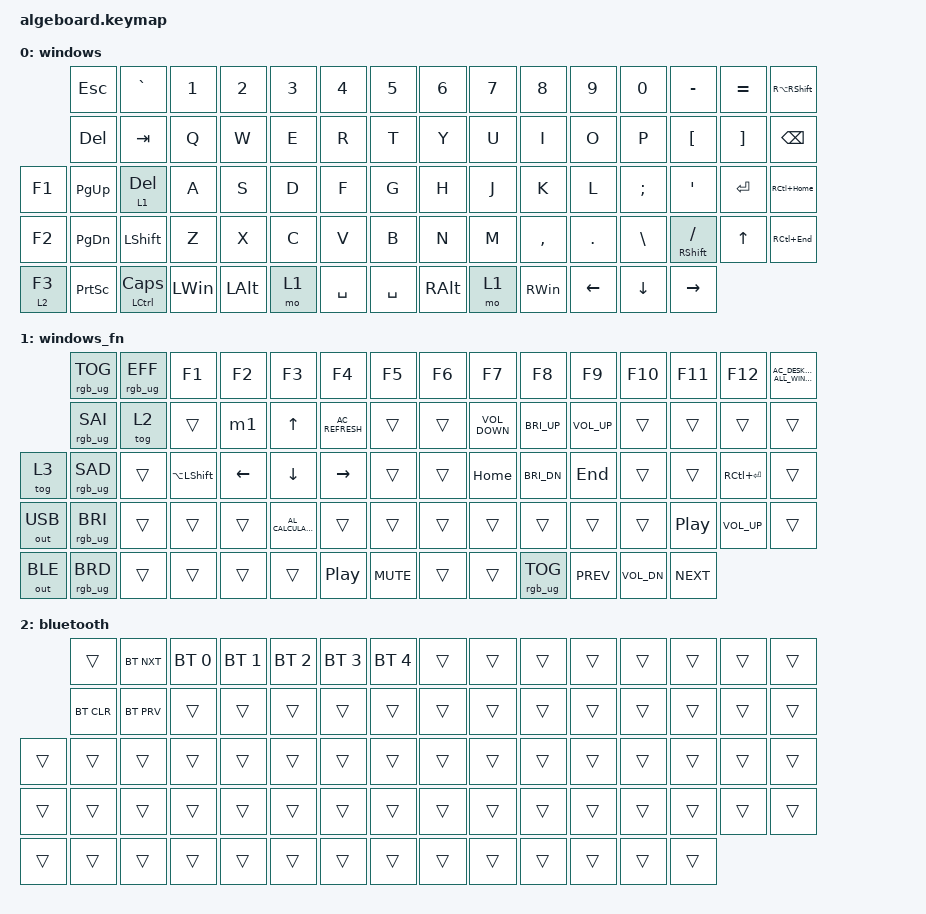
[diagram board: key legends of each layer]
/*
 * Copyright (c) 2020 The ZMK Contributors
 *
 * SPDX-License-Identifier: MIT
 */

#include <behaviors.dtsi>
#include <dt-bindings/zmk/keys.h>
#include <dt-bindings/zmk/rgb.h>
#include <dt-bindings/zmk/outputs.h>
#include <dt-bindings/zmk/bt.h>

/ {
    macros {
        m1: m1 {
            compatible = "zmk,behavior-macro";
            label = "new_macro";
            #binding-cells = <0>;
            bindings = <&kp LA(LSHFT)>;
        };
    };

    keymap {
        compatible = "zmk,keymap";

        windows {
            bindings = <
                &kp ESC              &kp GRAVE    &kp N1    &kp N2  &kp N3     &kp N4     &kp N5    &kp N6  &kp N7     &kp N8    &kp N9         &kp N0        &kp MINUS  &kp EQUAL  &kp RA(RIGHT_SHIFT)
                &kp DEL                &kp TAB     &kp Q     &kp W   &kp E      &kp R      &kp T     &kp Y   &kp U      &kp I     &kp O          &kp P         &kp LBKT   &kp RBKT        &kp BACKSPACE
  &kp F1    &kp PAGE_UP              &lt 1 DEL     &kp A     &kp S   &kp D      &kp F      &kp G     &kp H   &kp J      &kp K     &kp L       &kp SEMI          &kp SQT  &kp ENTER         &kp RC(HOME)
  &kp F2  &kp PAGE_DOWN             &kp LSHIFT     &kp Z     &kp X   &kp C      &kp V      &kp B     &kp N   &kp M  &kp COMMA   &kp DOT  &kp BACKSLASH  &mt RSHFT SLASH     &kp UP          &kp RC(END)
&lt 2 F3      &kp PSCRN  &mt LEFT_CONTROL CAPS  &kp LWIN  &kp LALT   &mo 1  &kp SPACE  &kp SPACE  &kp RALT   &mo 1   &kp RWIN  &kp LEFT       &kp DOWN        &kp RIGHT
            >;
        };

        windows_fn {
            bindings = <
              &rgb_ug RGB_TOG  &rgb_ug RGB_EFF          &kp F1    &kp F2               &kp F3            &kp F4      &kp F5  &kp F6             &kp F7           &kp F8           &kp F9       &kp F10           &kp F11        &kp F12  &kp C_AC_DESKTOP_SHOW_ALL_WINDOWS
              &rgb_ug RGB_SAI           &tog 2          &trans       &m1               &kp UP  &kp C_AC_REFRESH      &trans  &trans  &kp C_VOLUME_DOWN     &kp C_BRI_UP  &kp C_VOLUME_UP        &trans            &trans         &trans                             &trans
      &tog 3  &rgb_ug RGB_SAD           &trans  &kp LA(LSHIFT)  &kp LEFT             &kp DOWN         &kp RIGHT      &trans  &trans           &kp HOME     &kp C_BRI_DN          &kp END        &trans            &trans  &kp RC(ENTER)                             &trans
&out OUT_USB  &rgb_ug RGB_BRI           &trans          &trans    &trans  &kp C_AL_CALCULATOR            &trans      &trans  &trans             &trans           &trans           &trans        &trans  &kp C_PLAY_PAUSE   &kp C_VOL_UP                             &trans
&out OUT_BLE  &rgb_ug RGB_BRD           &trans          &trans    &trans               &trans  &kp C_PLAY_PAUSE  &kp C_MUTE  &trans             &trans  &rgb_ug RGB_TOG       &kp C_PREV  &kp C_VOL_DN        &kp C_NEXT
            >;
        };

        bluetooth {
            bindings = <
            &trans  &bt BT_NXT  &bt BT_SEL 0  &bt BT_SEL 1  &bt BT_SEL 2  &bt BT_SEL 3  &bt BT_SEL 4  &trans  &trans  &trans  &trans  &trans  &trans  &trans  &trans
        &bt BT_CLR  &bt BT_PRV        &trans        &trans        &trans        &trans        &trans  &trans  &trans  &trans  &trans  &trans  &trans  &trans  &trans
&trans      &trans      &trans        &trans        &trans        &trans        &trans        &trans  &trans  &trans  &trans  &trans  &trans  &trans  &trans  &trans
&trans      &trans      &trans        &trans        &trans        &trans        &trans        &trans  &trans  &trans  &trans  &trans  &trans  &trans  &trans  &trans
&trans      &trans      &trans        &trans        &trans        &trans        &trans        &trans  &trans  &trans  &trans  &trans  &trans  &trans
            >;
        };
    };
};
